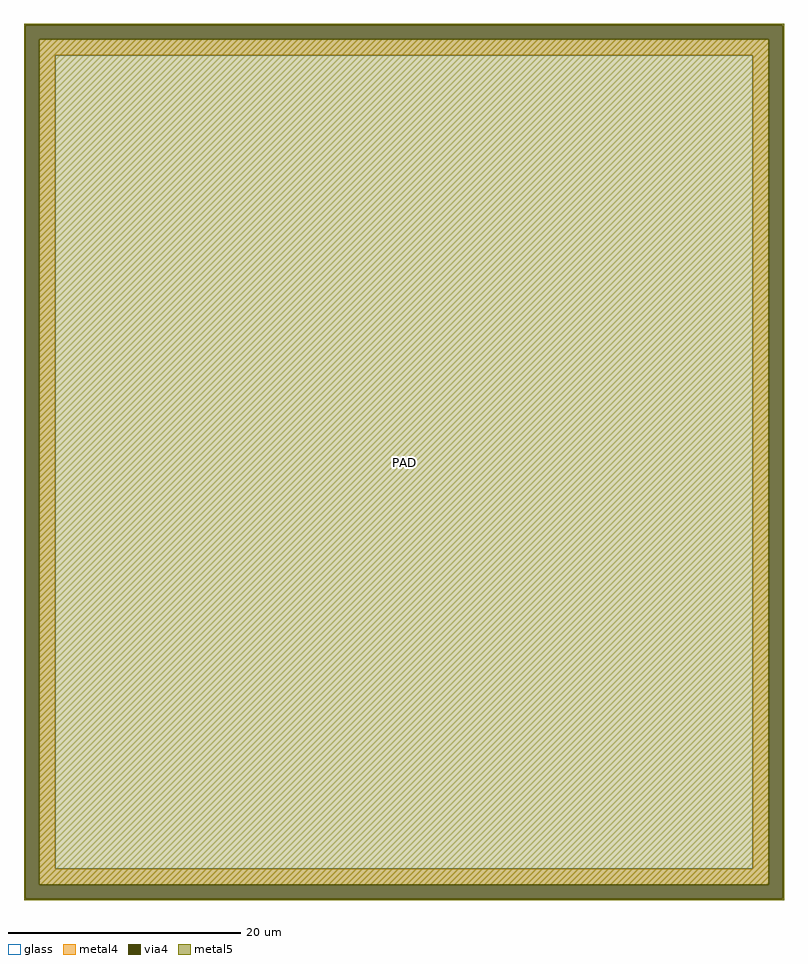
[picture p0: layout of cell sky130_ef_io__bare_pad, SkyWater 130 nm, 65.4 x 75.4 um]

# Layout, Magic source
magic
tech sky130A
<< metal4 >>
rect -270 7258 6270 7270
rect -270 -258 -258 7258
rect -140 7000 6140 7140
rect -140 0 0 7000
rect 6000 0 6140 7000
rect -140 -140 6140 0
rect 6258 -258 6270 7258
rect -270 -270 6270 -258
<< via4 >>
rect -258 7140 6258 7258
rect -258 -140 -140 7140
rect 6140 -140 6258 7140
rect -258 -258 6258 -140
<< metal5 >>
rect -270 7258 6270 7270
rect -270 -258 -258 7258
rect -140 -140 6140 7140
rect 6258 -258 6270 7258
rect -270 -270 6270 -258
<< glass >>
rect 0 0 6000 7000
<< labels >>
flabel metal5 -140 -140 6140 7140 0 FreeSans 800 0 0 0 PAD
port 0 nsew
<< end >>
